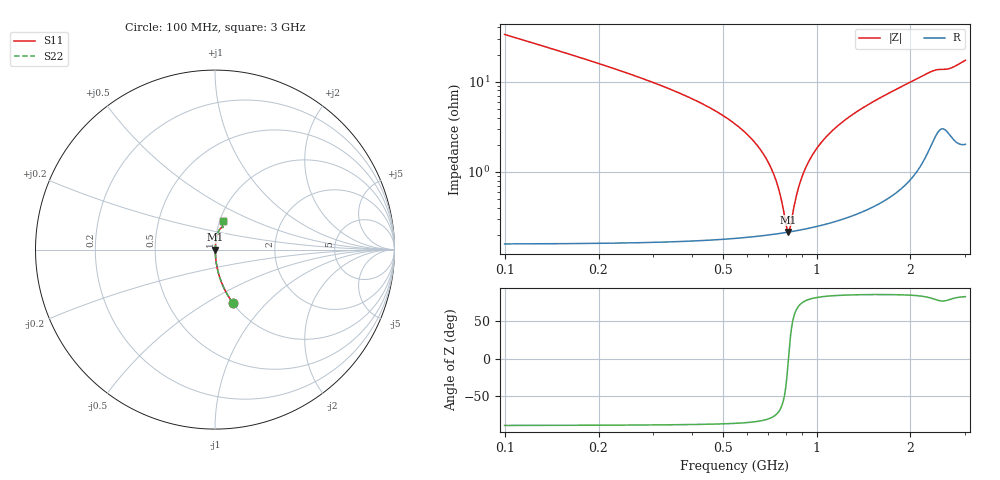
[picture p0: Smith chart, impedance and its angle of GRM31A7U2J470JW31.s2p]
!Murata Part Number: GRM31A7U2J470JW31
!These Parameters are Measured in Series Mode Connection
!Data Generated on Mar 30, 2021
!  o--ll--o
!Port1  Port2
!  o------o
!Operation Temp=25[degC], DC Bias Voltage=0[V]
!Freq. Start=100[MHz] Stop=3[GHz] 401[Steps]
# Hz S RI R 50
!Freq.(Hz) S11(Real) S11(Imag) S21(Real) S21(Imag) S12(Real) S12(Imag) S22(Real) S22(Imag)
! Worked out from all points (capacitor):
!   401 points, 100 MHz to 3 GHz, reference 50 ohm
!   read as one part in series: C = 47 pF near 114.5 MHz
!   lowest |Z| = 217 mohm at 810.5 MHz (marker M1)
!   series resonance near 812.7 MHz, so ESL is about 820 pH
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1e8  0.1013 -0.2993  0.8987 0.2993  0.8987 0.2993  0.1013 -0.2993
1.725e8  0.0355 -0.1807  0.9645 0.1807  0.9645 0.1807  0.0355 -0.1807
2.595e8  0.0152 -0.1155  0.9848 0.1155  0.9848 0.1155  0.0152 -0.1155
5.8575e8  0.00266 -0.0279  0.9973 0.0279  0.9973 0.0279  0.00266 -0.0279
6.5825e8  0.00227 -0.0179  0.9977 0.0179  0.9977 0.0179  0.00227 -0.0179
7.1625e8  0.00214 -0.0107  0.9979 0.0107  0.9979 0.0107  0.00214 -0.0107
7.525e8  0.00211 -0.00651  0.9979 0.00651  0.9979 0.00651  0.00211 -0.00651
7.96e8  0.00213 -0.00176  0.9979 0.00176  0.9979 0.00176  0.00213 -0.00176
8.105e8  0.00215 -0.000233  0.9978 0.000233  0.9978 0.000233  0.00215 -0.000233
8.25e8  0.00218 0.00127  0.9978 -0.00127  0.9978 -0.00127  0.00218 0.00127
8.54e8  0.00224 0.0042  0.9978 -0.0042  0.9978 -0.0042  0.00224 0.0042
8.7575e8  0.0023 0.00635  0.9977 -0.00635  0.9977 -0.00635  0.0023 0.00635
9.1925e8  0.00244 0.0105  0.9976 -0.0105  0.9976 -0.0105  0.00244 0.0105
9.845e8  0.00273 0.0165  0.9973 -0.0165  0.9973 -0.0165  0.00273 0.0165
1.0715e9  0.00322 0.024  0.9968 -0.024  0.9968 -0.024  0.00322 0.024
1.26725e9  0.00475 0.0399  0.9953 -0.0399  0.9953 -0.0399  0.00475 0.0399
1.55e9  0.00806 0.0616  0.9919 -0.0616  0.9919 -0.0616  0.00806 0.0616
2.03575e9  0.0188 0.0993  0.9812 -0.0993  0.9812 -0.0993  0.0188 0.0993
2.333e9  0.0347 0.1213  0.9653 -0.1213  0.9653 -0.1213  0.0347 0.1213
2.5215e9  0.0453 0.1239  0.9547 -0.1239  0.9547 -0.1239  0.0453 0.1239
2.68825e9  0.042 0.1299  0.958 -0.1299  0.958 -0.1299  0.042 0.1299
3e9  0.0468 0.1603  0.9532 -0.1603  0.9532 -0.1603  0.0468 0.1603
